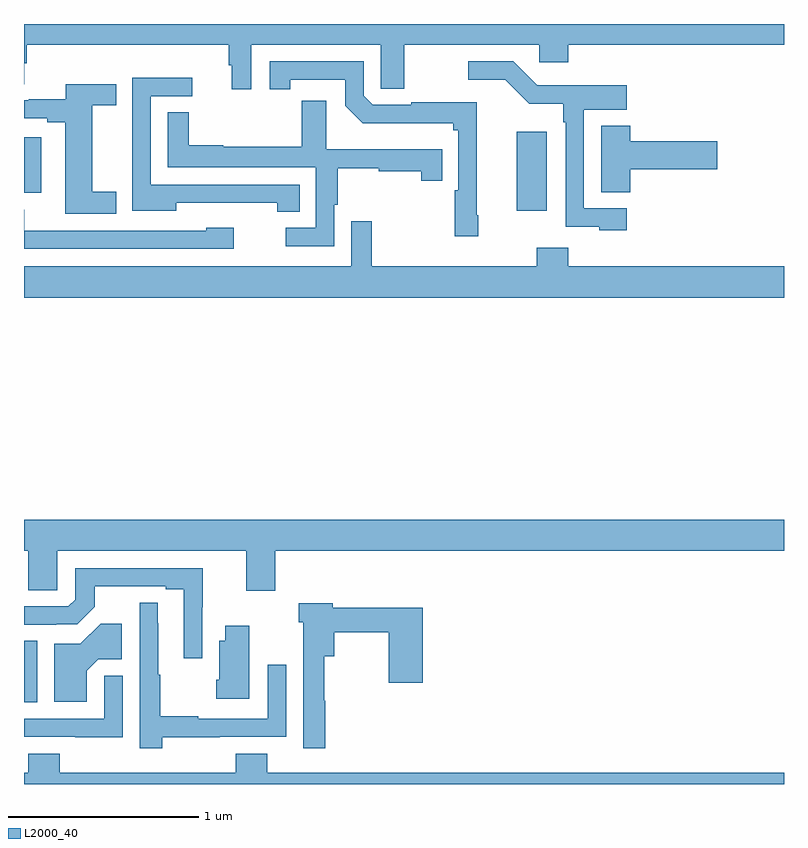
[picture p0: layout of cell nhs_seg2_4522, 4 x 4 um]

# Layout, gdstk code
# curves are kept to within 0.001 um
import gdstk
lib = gdstk.Library(unit=1e-6, precision=1e-09)
def R(c, l, rs):  # rectangles x0, y0, x1, y1
    for r in rs: c.add(gdstk.rectangle(r[:2], r[2:], *l))
def P(c, l, *ps):  # polygons
    for p in ps: c.add(gdstk.Polygon(p, *l))
L2000_40 = (2000, 40)

nhs_seg2_4522 = lib.new_cell('nhs_seg2_4522')
R(nhs_seg2_4522, L2000_40, [(357,588.229,357.07,588.554), (359.594,590.817,359.752,591.232), (357,590.913,357.09,591.205)])
P(nhs_seg2_4522, L2000_40, [(358.195,591.692),(358.878,591.692),(358.878,591.46),(359.001,591.46),(359.001,591.692),(359.712,591.692),(359.712,591.599),(359.864,591.599),(359.864,591.692),(361,591.692),(361,591.8),(357,591.8),(357,591.484),(357.001,591.484),(357.001,591.594),(357.014,591.594),(357.014,591.692),(358.077,591.692),(358.077,591.582),(358.094,591.582),(358.094,591.456),(358.195,591.456)],
  [(359.39,590.794),(359.384,590.794),(359.384,591.388),(359.039,591.388),(359.039,591.375),(358.836,591.375),(358.788,591.423),(358.788,591.603),(358.293,591.603),(358.293,591.456),(358.402,591.456),(358.402,591.507),(358.692,591.507),(358.692,591.369),(358.783,591.278),(359.258,591.278),(359.258,591.24),(359.286,591.24),(359.286,590.926),(359.266,590.926),(359.266,590.682),(359.39,590.682)],
  [(360.172,590.829),(359.946,590.829),(359.946,591.35),(360.172,591.35),(360.172,591.478),(359.701,591.477),(359.575,591.603),(359.337,591.603),(359.337,591.506),(359.534,591.506),(359.66,591.38),(359.838,591.38),(359.838,591.284),(359.85,591.284),(359.85,590.733),(360.027,590.733),(360.027,590.714),(360.172,590.714)],
  [(358.451,590.955),(357.666,590.955),(357.666,591.42),(357.886,591.42),(357.886,591.517),(357.57,591.517),(357.57,591.287),(357.569,591.287),(357.569,591.052),(357.57,591.052),(357.57,590.816),(357.802,590.816),(357.802,590.858),(358.333,590.858),(358.333,590.812),(358.451,590.812)],
  [(357.485,590.916),(357.358,590.916),(357.358,591.373),(357.485,591.373),(357.485,591.484),(357.221,591.484),(357.221,591.404),(357.024,591.404),(357.024,591.399),(357,591.399),(357,591.303),(357.122,591.303),(357.122,591.283),(357.218,591.283),(357.218,590.801),(357.485,590.801)],
  [(358.632,590.848),(358.652,590.848),(358.652,591.04),(358.866,591.04),(358.866,591.025),(359.09,591.025),(359.09,590.976),(359.201,590.976),(359.201,591.142),(358.591,591.142),(358.591,591.397),(358.463,591.397),(358.463,591.154),(358.049,591.154),(358.049,591.161),(357.868,591.161),(357.868,591.335),(357.756,591.335),(357.756,591.045),(358.536,591.045),(358.536,590.727),(358.377,590.727),(358.377,590.631),(358.632,590.631)],
  [(360.191,591.035),(360.649,591.035),(360.649,591.182),(360.191,591.182),(360.191,591.265),(360.038,591.265),(360.038,590.914),(360.191,590.914)],
  [(358.105,590.728),(357.96,590.728),(357.96,590.712),(357.001,590.712),(357.001,590.823),(357,590.823),(357,590.616),(358.105,590.616)],
  [(361,590.524),(359.864,590.524),(359.864,590.623),(359.699,590.623),(359.699,590.524),(358.831,590.524),(358.831,590.761),(358.722,590.761),(358.722,590.524),(357,590.524),(357,590.36),(361,590.36)],
  [(357,589.028),(357.023,589.028),(357.023,588.82),(357.174,588.82),(357.174,589.028),(358.169,589.028),(358.169,588.816),(358.322,588.816),(358.322,589.028),(361,589.028),(361,589.192),(357,589.192)],
  [(357.939,588.73),(357.942,588.73),(357.942,588.936),(357.27,588.936),(357.27,588.771),(357.234,588.735),(357,588.735),(357,588.639),(357.28,588.64),(357.373,588.733),(357.373,588.84),(357.746,588.84),(357.746,588.825),(357.842,588.825),(357.842,588.462),(357.939,588.462)],
  [(357.727,588.047),(358.031,588.047),(358.031,588.048),(358.38,588.048),(358.38,588.427),(358.284,588.427),(358.284,588.144),(357.917,588.144),(357.917,588.157),(357.718,588.157),(357.718,588.374),(357.706,588.374),(357.706,588.647),(357.705,588.647),(357.705,588.755),(357.609,588.755),(357.609,587.988),(357.727,587.988)],
  [(358.586,588.239),(358.579,588.239),(358.579,588.473),(358.632,588.473),(358.632,588.598),(358.921,588.598),(358.921,588.333),(359.099,588.333),(359.099,588.727),(358.624,588.727),(358.624,588.752),(358.445,588.752),(358.445,588.651),(358.47,588.651),(358.47,587.988),(358.586,587.988)],
  [(357.331,588.397),(357.39,588.456),(357.514,588.456),(357.514,588.643),(357.403,588.643),(357.297,588.537),(357.158,588.537),(357.158,588.233),(357.331,588.233)],
  [(358.186,588.634),(358.058,588.634),(358.058,588.553),(358.028,588.553),(358.028,588.348),(358.013,588.348),(358.013,588.248),(358.186,588.248)],
  [(357.519,588.369),(357.423,588.369),(357.423,588.144),(357,588.144),(357,588.048),(357.271,588.048),(357.271,588.047),(357.519,588.047)],
  [(361,587.86),(358.28,587.86),(358.28,587.959),(358.115,587.959),(358.115,587.86),(357.188,587.86),(357.188,587.959),(357.023,587.959),(357.023,587.86),(357,587.86),(357,587.8),(361,587.8)])

lib.write_gds('nhs_seg2_4522.gds')
